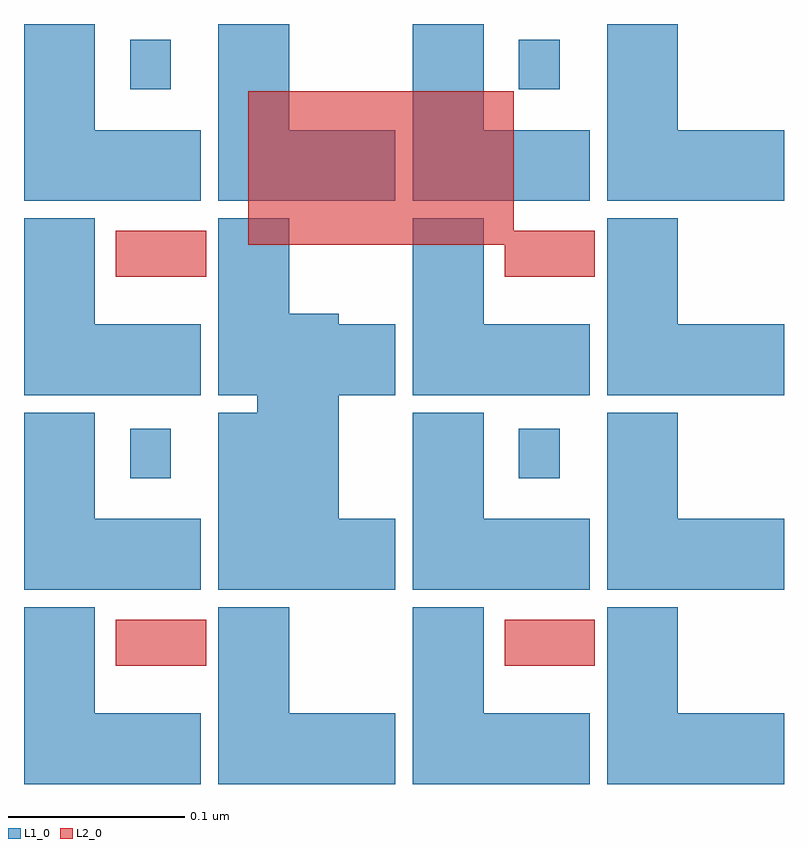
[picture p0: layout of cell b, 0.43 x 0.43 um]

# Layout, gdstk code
import gdstk
lib = gdstk.Library(unit=1e-6, precision=1e-09)
def R(c, l, rs):  # rectangles x0, y0, x1, y1
    for r in rs: c.add(gdstk.rectangle(r[:2], r[2:], *l))
def P(c, l, *ps):  # polygons
    for p in ps: c.add(gdstk.Polygon(p, *l))
L1_0 = (1, 0)
L2_0 = (2, 0)

c_r = lib.new_cell('r')
P(c_r, L1_0, [(0,0),(0,0.1),(0.04,0.1),(0.04,0.04),(0.1,0.04),(0.1,0)])

c_a = lib.new_cell('a')
R(c_a, L1_0, [(0.06,0.173,0.083,0.201)])
R(c_a, L2_0, [(0.052,0.067,0.103,0.093)])
r = gdstk.Reference(c_r, (0,0)); r.repetition = gdstk.Repetition(2, 2, v1=(0.11,0), v2=(0,0.11)); c_a.add(r)

c_b = lib.new_cell('b')
R(c_b, L1_0, [(0.033,0.11,0.079,0.262)])
R(c_b, L2_0, [(0.028,0.301,0.178,0.388)])
r = gdstk.Reference(c_a, (-0.099,-0.004)); r.repetition = gdstk.Repetition(2, 2, v1=(0.22,0), v2=(0,0.22)); c_b.add(r)

lib.write_gds('b.gds')
